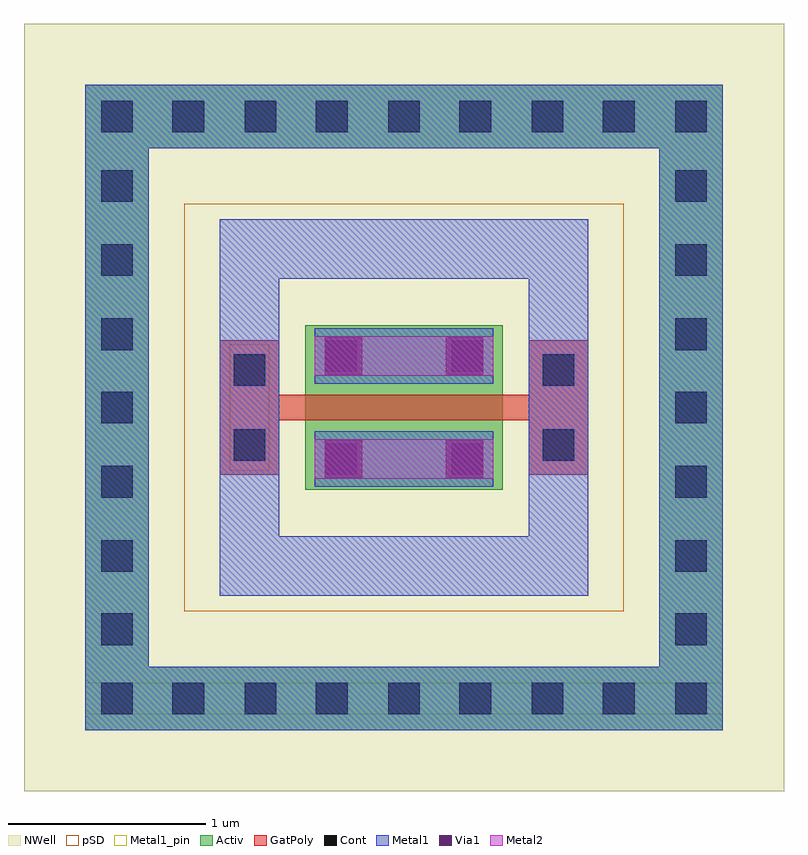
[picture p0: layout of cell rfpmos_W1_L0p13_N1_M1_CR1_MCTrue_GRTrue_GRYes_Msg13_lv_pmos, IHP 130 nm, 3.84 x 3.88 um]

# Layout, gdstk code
import gdstk
lib = gdstk.Library(unit=1e-6, precision=1e-09)
def R(c, l, rs):  # rectangles x0, y0, x1, y1
    for r in rs: c.add(gdstk.rectangle(r[:2], r[2:], *l))
def A(c, l, x, y, w, h, nx, ny, dx, dy):  # array of equal rectangles
    R(c, l, [(x+i*dx, y+j*dy, x+i*dx+w, y+j*dy+h) for i in range(nx) for j in range(ny)])
Activ = (1, 0)
GatPoly = (5, 0)
Cont = (6, 0)
Metal1 = (8, 0)
Metal1_pin = (8, 2)
Metal2 = (10, 0)
pSD = (14, 0)
Via1 = (19, 0)
NWell = (31, 0)

rfpmos_w1_l0p13_n1_m1_cr = lib.new_cell('rfpmos_W1_L0p13_N1_M1_CR1_MCTrue_GRTrue_GRYes_Msg13_lv_pmos')
R(rfpmos_w1_l0p13_n1_m1_cr, Activ, [(0.31,0.31,3.53,0.63), (0.31,0.63,0.63,3.25), (3.21,0.63,3.53,3.25), (1.42,1.525,2.42,2.355), (0.31,3.25,3.53,3.57)])
R(rfpmos_w1_l0p13_n1_m1_cr, GatPoly, [(0.99,1.6,1.29,2.28), (2.55,1.6,2.85,2.28), (1.29,1.875,2.55,2.005)])
A(rfpmos_w1_l0p13_n1_m1_cr, Cont, 0.39, 1.11, 0.16, 0.16, 1, 3, 0, 0.375)
A(rfpmos_w1_l0p13_n1_m1_cr, Cont, 3.29, 1.11, 0.16, 0.16, 1, 3, 0, 0.375)
A(rfpmos_w1_l0p13_n1_m1_cr, Cont, 0.39, 2.23, 0.16, 0.16, 1, 3, 0, 0.375)
A(rfpmos_w1_l0p13_n1_m1_cr, Cont, 3.29, 2.23, 0.16, 0.16, 1, 3, 0, 0.375)
R(rfpmos_w1_l0p13_n1_m1_cr, Cont, [(0.39,0.39,0.55,0.55), (0.75,0.39,0.91,0.55), (1.115,0.39,1.275,0.55), (1.475,0.39,1.635,0.55), (1.84,0.39,2,0.55), (2.2,0.39,2.36,0.55), (2.565,0.39,2.725,0.55), (2.925,0.39,3.085,0.55), (3.29,0.39,3.45,0.55), (0.39,0.74,0.55,0.9), (3.29,0.74,3.45,0.9), (1.52,1.6,1.68,1.76), (2.16,1.6,2.32,1.76), (1.06,1.67,1.22,1.83), (2.62,1.67,2.78,1.83), (1.06,2.05,1.22,2.21), (2.62,2.05,2.78,2.21), (1.52,2.12,1.68,2.28), (2.16,2.12,2.32,2.28), (0.39,3.33,0.55,3.49), (0.75,3.33,0.91,3.49), (1.115,3.33,1.275,3.49), (1.475,3.33,1.635,3.49), (1.84,3.33,2,3.49), (2.2,3.33,2.36,3.49), (2.565,3.33,2.725,3.49), (2.925,3.33,3.085,3.49), (3.29,3.33,3.45,3.49)])
R(rfpmos_w1_l0p13_n1_m1_cr, Metal1, [(0.31,0.31,3.53,0.63), (0.31,0.63,0.63,3.25), (3.21,0.63,3.53,3.25), (0.99,0.99,1.29,2.89), (1.29,0.99,2.55,1.29), (2.55,0.99,2.85,2.89), (1.47,1.54,2.37,1.82), (1.04,1.62,1.24,2.26), (2.6,1.62,2.8,2.26), (1.47,2.06,2.37,2.34), (1.29,2.59,2.55,2.89), (0.31,3.25,3.53,3.57)])
R(rfpmos_w1_l0p13_n1_m1_cr, Metal1_pin, [(0.31,0.39,3.53,0.55), (1.47,1.54,2.37,1.82), (1.04,1.62,1.24,2.26), (1.47,2.06,2.37,2.34)])
R(rfpmos_w1_l0p13_n1_m1_cr, Metal2, [(1.47,1.58,2.37,1.78), (1.47,2.1,2.37,2.3)])
R(rfpmos_w1_l0p13_n1_m1_cr, pSD, [(0.81,0.91,3.03,2.97)])
R(rfpmos_w1_l0p13_n1_m1_cr, Via1, [(1.52,1.585,1.71,1.775), (2.13,1.585,2.32,1.775), (1.52,2.105,1.71,2.295), (2.13,2.105,2.32,2.295)])
R(rfpmos_w1_l0p13_n1_m1_cr, NWell, [(0,0,3.84,3.88)])

lib.write_gds('rfpmos_W1_L0p13_N1_M1_CR1_MCTrue_GRTrue_GRYes_Msg13_lv_pmos.gds')
